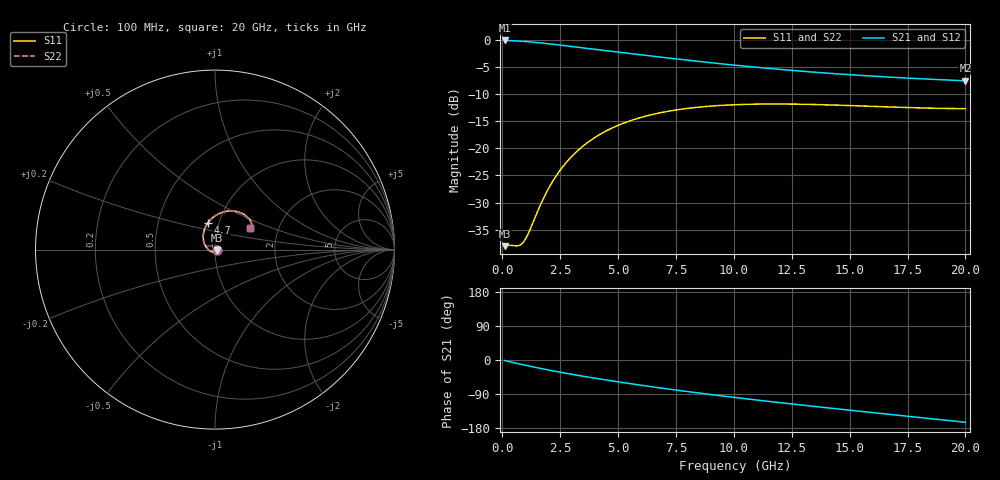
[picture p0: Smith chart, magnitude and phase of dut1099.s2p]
! Touchstone file exported from HFSS 2024.1.0
!  File:  C:/UserFiles/LocalFiles/RDL_TSV_Batchsim/temp_RDL_TSV_1099_1780100004.aedt
!  Generated:  08:27:28 AM May 30, 2026
!  Design:  RDL_TSV
!  Project:  temp_RDL_TSV_1099_1780100004
!  Setup:  Setup1
!  Solution:  Sweep
! Variables:
!  dtsv = 7.02um
!  hbump = 3um
!  htsv = 98.9um
!  ldown = 262.53um
!  lrdl = 313.76um
!  p = 40
!  p1 = 45.09um
!  rhole = 10um
!  subl = 2042.63um
!  t = 450um
!  tdown = 3.66um
!  trdl = 2.18um
!  viad = 10um
!  wdown = 23.62um
!  wrdl = 27.84um
!  xbump = 18um
# GHz S MA R 50.000000
! Terminal data exported
! Port[1] = TM1_1_T1
! Port[2] = TM1_4_T1
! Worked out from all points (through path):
!   200 points, 100 MHz to 20 GHz, reference 50 ohm
!   highest |S21| = -0.11 dB at 100 MHz (marker M1); lowest = -7.5 dB at 20 GHz (marker M2)
!   group delay of S21, straight-line fit = 21.6 ps
!   lowest |S11| = -38.0 dB at 100 MHz (marker M3), VSWR 1.03, Z = 51.3 - j0.143 ohm
!   |S11| at or under -10 dB: start of sweep to end of sweep
!   |S22| runs from -38.0 to -11.9 dB; largest |S21 - S12| = 9.6e-15
!   S11 on the Smith chart (normalised r, x): 100 MHz: 1.03, -0.00; 4.7 GHz: 0.88, +0.27; 20 GHz: 1.44, +0.37
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0.1  0.01255 -6.4  0.9871 -1.5  0.9871 -1.5  0.01255 -6.4
! Gamma 0 0 0 0
! Port Impedance 50 0 50 0
0.3  0.01278 -22.2  0.9844 -4.3  0.9844 -4.3  0.01278 -22.2
0.7  0.01267 -67.1  0.975 -9.8  0.975 -9.8  0.01268 -67.1
0.9  0.01357 -94.3  0.9687 -12.5  0.9687 -12.5  0.01358 -94.2
1.1  0.01603 -120.0  0.9614 -15.2  0.9614 -15.2  0.01603 -119.9
1.8  0.03537 -176.6  0.9301 -24.1  0.9301 -24.1  0.03529 -176.4
2.2  0.05063 165.3  0.9098 -28.8  0.9098 -28.8  0.0505 165.4
2.5  0.06299 154.6  0.8942 -32.2  0.8942 -32.2  0.06282 154.7
2.8  0.07574 145.5  0.8786 -35.6  0.8786 -35.6  0.07552 145.6
3.5  0.1056 128.1  0.8427 -43.0  0.8427 -43.0  0.1053 128.1
4.1  0.13 116.0  0.8131 -49.0  0.8131 -49.0  0.1296 116.1
4.7  0.1525 105.7  0.7848 -54.8  0.7848 -54.8  0.1521 105.7
5.7  0.1848 91.4  0.7401 -64.0  0.7401 -64.0  0.1843 91.4
6.8  0.2124 78.6  0.6947 -73.5  0.6947 -73.5  0.2117 78.6
8.4  0.2388 64.0  0.6357 -86.5  0.6357 -86.5  0.238 64.0
10.1  0.2527 52.4  0.5824 -99.3  0.5824 -99.3  0.2519 52.3
11.7  0.2564 44.2  0.5409 -110.6  0.5409 -110.6  0.2555 44.1
13.4  0.2538 37.9  0.5048 -122.0  0.5048 -122.0  0.2529 37.9
15  0.248 34.0  0.4774 -132.4  0.4774 -132.4  0.2471 33.9
16.7  0.2408 31.7  0.4537 -143.3  0.4537 -143.3  0.2399 31.7
18.3  0.2351 31.1  0.4355 -153.5  0.4355 -153.5  0.2342 31.1
20  0.2323 31.8  0.4195 -164.3  0.4195 -164.3  0.2314 31.8
